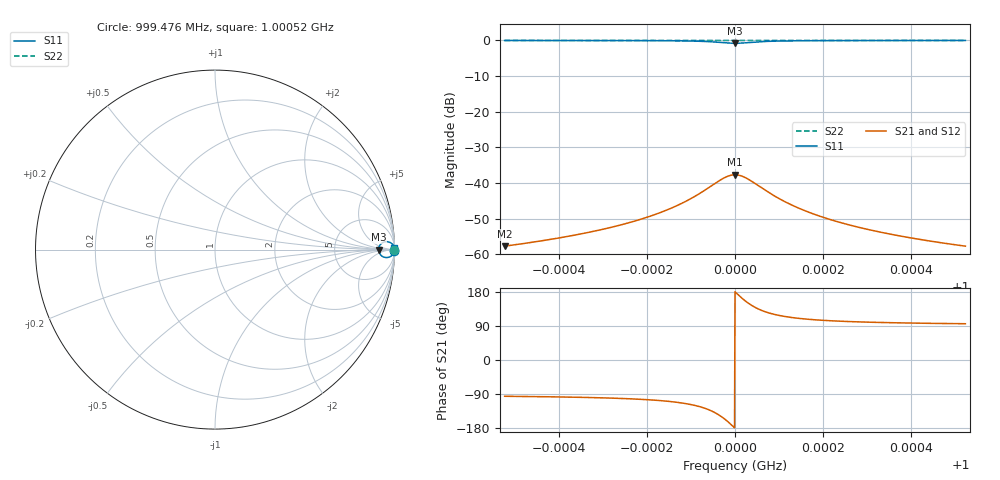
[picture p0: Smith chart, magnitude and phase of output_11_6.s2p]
! File generated for n1 = 11, n2 = 6
! b1 = 0.046416
! b2 = 0.001000
! Q0 = 10000.000000
! f0 = 1000000000.000000
! n = 1001
! rel_span = 10.000000
# Hz S RI R 50
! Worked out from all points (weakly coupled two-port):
!   1001 points, 999.476 MHz to 1.00052 GHz, reference 50 ohm
!   highest |S21| = -37.72 dB at 1 GHz (marker M1); lowest = -57.8 dB at 999.476 MHz (marker M2)
!   lowest |S11| = -0.8 dB at 1 GHz (marker M3), VSWR 21.57, Z = 1.08e+03 + j0 ohm
!   |S11| at or under -10 dB: nowhere
!   |S22| runs from 0.0 to 0.0 dB; largest |S21 - S12| = 0
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9.994763e8  0.9991 -0.00877  -0.000129 -0.00129  -0.000129 -0.00129  1 -0.000189
9.995664e8  0.9987 -0.0105  -0.000187 -0.00155  -0.000187 -0.00155  1 -0.000227
9.996512e8  0.998 -0.013  -0.000287 -0.00191  -0.000287 -0.00191  1 -0.00028
9.997476e8  0.9963 -0.0176  -0.000537 -0.00259  -0.000537 -0.00259  0.9999 -0.00038
9.998261e8  0.9926 -0.0245  -0.00108 -0.00359  -0.00108 -0.00359  0.9998 -0.000527
9.998607e8  0.989 -0.0292  -0.00161 -0.00428  -0.00161 -0.00428  0.9998 -0.000629
9.998921e8  0.9831 -0.0348  -0.00248 -0.00511  -0.00248 -0.00511  0.9996 -0.00075
9.999204e8  0.9732 -0.0407  -0.00393 -0.00597  -0.00393 -0.00597  0.9994 -0.000877
9.99955e8  0.9491 -0.0438  -0.00748 -0.00643  -0.00748 -0.00643  0.9989 -0.000944
9.999811e8  0.9215 -0.0282  -0.0115 -0.00415  -0.0115 -0.00415  0.9983 -0.000609
1e9  0.9114 0  -0.013 0  -0.013 0  0.9981 0
1.000009e9  0.9142 0.0155  -0.0126 0.00227  -0.0126 0.00227  0.9982 0.000333
1.00002e9  0.9226 0.0294  -0.0114 0.00432  -0.0114 0.00432  0.9983 0.000634
1.000046e9  0.9501 0.044  -0.00733 0.00645  -0.00733 0.00645  0.9989 0.000947
1.000081e9  0.9737 0.0405  -0.00386 0.00594  -0.00386 0.00594  0.9994 0.000872
1.000109e9  0.9834 0.0346  -0.00244 0.00508  -0.00244 0.00508  0.9996 0.000746
1.00014e9  0.9892 0.029  -0.00159 0.00426  -0.00159 0.00426  0.9998 0.000625
1.000175e9  0.9927 0.0244  -0.00107 0.00357  -0.00107 0.00357  0.9998 0.000525
1.000253e9  0.9964 0.0176  -0.000533 0.00258  -0.000533 0.00258  0.9999 0.000378
1.00035e9  0.9981 0.013  -0.000285 0.00191  -0.000285 0.00191  1 0.00028
1.000435e9  0.9987 0.0105  -0.000186 0.00155  -0.000186 0.00155  1 0.000227
1.000524e9  0.9991 0.00878  -0.000129 0.00129  -0.000129 0.00129  1 0.000189
